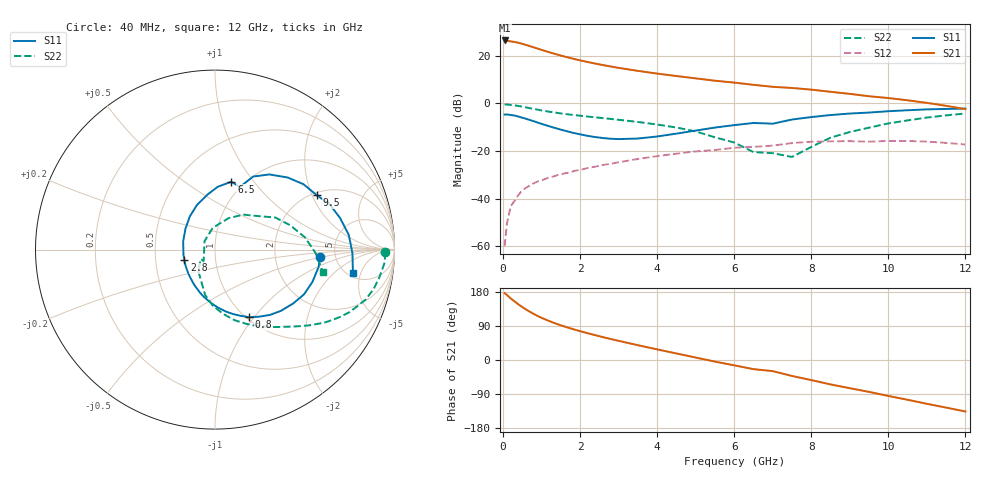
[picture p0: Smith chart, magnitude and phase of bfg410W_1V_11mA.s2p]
! Filename: 111bfg410.001
! BFG410W Field B1
! V1=8.886E-001V,V2=1.000E+000V, I1=1.854E-004A, I2=1.101E-002A
# GHz  S  MA  R 50
!  S11  S21  S12  S22
!Freq(GHz)  Mag  Ang  Mag  Ang  Mag  Ang  Mag  Ang
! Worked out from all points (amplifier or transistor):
!   44 points, 40 MHz to 12 GHz, reference 50 ohm
!   highest |S21| = 26.5 dB at 40 MHz (marker M1)
!   |S21| within 3 dB of that: start of sweep to 814.8 MHz
!   unconditionally stable (mu >= 1): start of sweep to 61.94 MHz; 1.573 GHz to end of sweep
!   at 700 MHz: K = 0.61, MSG = 29.2 dB, |S12| = -34.4 dB
!   at 2.4 GHz: K = 1.20, MAG = 19.0 dB, |S12| = -26.6 dB
!   at 12 GHz: K = 1.55, MAG = 3.1 dB, |S12| = -17.3 dB
!   S11 on the Smith chart (normalised r, x): 40 MHz: 3.75, -0.45; 800 MHz: 1.03, -0.94; 2.8 GHz: 0.70, -0.09; 6.5 GHz: 0.88, +0.78; 9.5 GHz: 2.10, +2.17; 12 GHz: 5.63, -3.65
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0.04  0.584 -3.9  21.07 176.5  0.001 75.7  0.947 -0.9
0.1  0.586 -9.3  20.79 171.5  0.003 86.3  0.949 -4.1
0.2  0.572 -18.3  20.13 162.3  0.007 79.8  0.929 -9.5
0.3  0.555 -26.7  19.6 154.5  0.009 76.2  0.911 -13.9
0.4  0.529 -34.6  18.81 146.7  0.012 72.9  0.885 -18.3
0.5  0.501 -43.0  17.88 139.6  0.015 69.2  0.853 -21.7
0.6  0.475 -50.1  16.94 133.0  0.017 66.6  0.825 -25.1
0.8  0.422 -63.2  15.04 121.3  0.021 62.2  0.765 -30.7
1.1  0.351 -79.9  12.61 106.9  0.026 57.9  0.691 -37.2
1.4  0.297 -94.5  10.69 95.1  0.031 55.3  0.633 -42.4
1.8  0.243 -113.3  8.783 81.9  0.037 52.5  0.575 -48.4
2.2  0.208 -131.6  7.411 70.6  0.044 49.7  0.53 -54.3
2.8  0.181 -160.7  5.963 55.3  0.054 44.8  0.472 -63.3
3.5  0.183 165.7  4.831 39.1  0.068 37.5  0.408 -74.5
4.5  0.232 127.2  3.766 17.2  0.088 24.7  0.312 -92.4
5.5  0.311 97.3  3.001 -4.3  0.105 9.2  0.194 -113.1
6.5  0.389 76.5  2.46 -24.1  0.122 -5.1  0.095 -146.3
7.5  0.459 62.4  2.114 -42.1  0.147 -16.9  0.075 140.8
8.5  0.57 44.8  1.757 -64.4  0.16 -38.8  0.191 66.6
9.5  0.643 28.1  1.416 -84.2  0.157 -57.5  0.31 36.9
10.5  0.719 14.1  1.164 -105.0  0.162 -77.1  0.44 18.0
12  0.779 -9.4  0.761 -135.9  0.137 -112.3  0.614 -11.8
